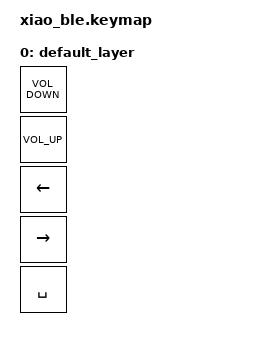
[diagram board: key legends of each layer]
#include <behaviors.dtsi>
#include <dt-bindings/zmk/keys.h>
#include <dt-bindings/zmk/bt.h> 

/ {
    keymap {
        compatible = "zmk,keymap";

        default_layer {
            bindings = <
                &kp C_VOLUME_DOWN       /* Wired to D0 */
                &kp C_VOLUME_UP       /* Wired to D1, Switches to next BT profile */
                &kp LEFT    /* Wired to D2 */
                &kp RIGHT   /* Wired to D3 */
                &kp SPACE   /* Wired to D4 */
            >;
        };
    };
};
